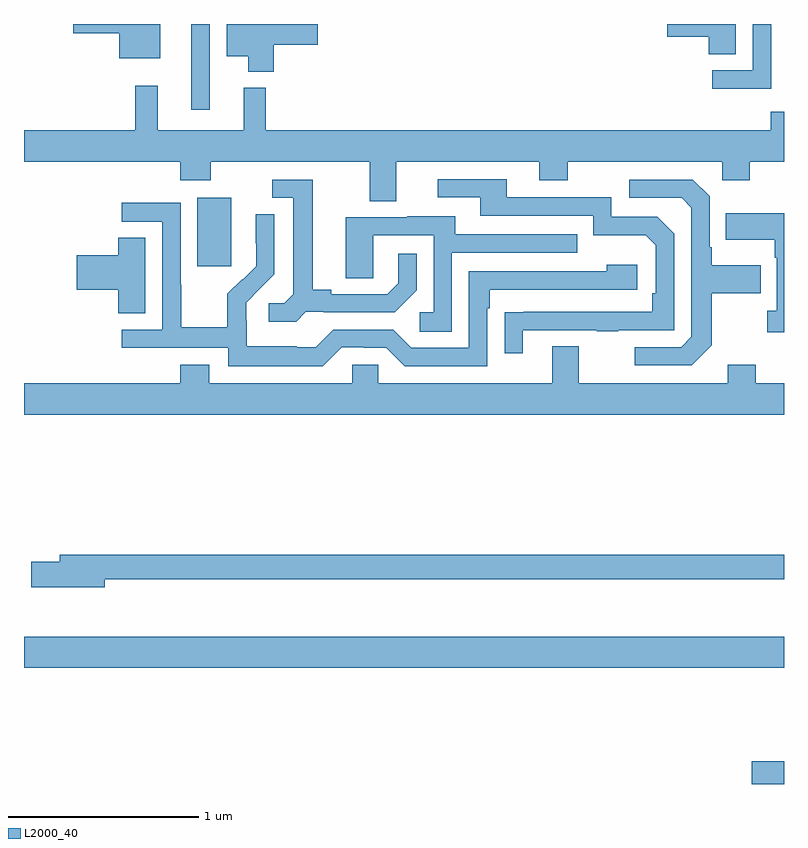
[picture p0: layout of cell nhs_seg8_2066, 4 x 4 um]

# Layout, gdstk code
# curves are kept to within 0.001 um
import gdstk
lib = gdstk.Library(unit=1e-6, precision=1e-09)
def R(c, l, rs):  # rectangles x0, y0, x1, y1
    for r in rs: c.add(gdstk.rectangle(r[:2], r[2:], *l))
def P(c, l, *ps):  # polygons
    for p in ps: c.add(gdstk.Polygon(p, *l))
L2000_40 = (2000, 40)

nhs_seg8_2066 = lib.new_cell('nhs_seg8_2066')
R(nhs_seg8_2066, L2000_40, [(244.83,1103.9,245,1104.02), (241,1104.512,245,1104.676), (241.913,1106.625,242.092,1106.986), (241.88,1107.45,241.977,1107.9)])
P(nhs_seg8_2066, L2000_40, [(244.747,1107.9),(244.386,1107.9),(244.386,1107.833),(244.604,1107.833),(244.604,1107.742),(244.747,1107.742)],
  [(241.717,1107.9),(241.26,1107.9),(241.26,1107.851),(241.502,1107.851),(241.502,1107.719),(241.717,1107.719)],
  [(242.315,1107.79),(242.545,1107.79),(242.545,1107.9),(242.066,1107.9),(242.066,1107.731),(242.18,1107.731),(242.18,1107.65),(242.315,1107.65)],
  [(244.932,1107.9),(244.836,1107.9),(244.836,1107.657),(244.623,1107.657),(244.623,1107.559),(244.932,1107.559)],
  [(242.959,1107.176),(243.713,1107.176),(243.713,1107.077),(243.861,1107.077),(243.861,1107.176),(244.674,1107.176),(244.674,1107.077),(244.821,1107.077),(244.821,1107.176),(245,1107.176),(245,1107.439),(244.931,1107.439),(244.931,1107.34),(242.273,1107.34),(242.273,1107.565),(242.156,1107.565),(242.156,1107.34),(241.703,1107.34),(241.703,1107.574),(241.585,1107.574),(241.585,1107.34),(241,1107.34),(241,1107.176),(241.823,1107.176),(241.823,1107.077),(241.983,1107.077),(241.983,1107.176),(242.819,1107.176),(242.819,1106.968),(242.959,1106.968)],
  [(243.625,1106.289),(244.015,1106.289),(244.015,1106.284),(244.127,1106.284),(244.127,1106.289),(244.422,1106.289),(244.422,1106.796),(244.332,1106.886),(244.092,1106.886),(244.092,1106.988),(243.541,1106.988),(243.541,1107.084),(243.177,1107.084),(243.177,1106.988),(243.401,1106.988),(243.401,1106.892),(243.996,1106.892),(243.996,1106.789),(244.273,1106.789),(244.326,1106.736),(244.326,1106.482),(244.306,1106.482),(244.306,1106.385),(243.529,1106.384),(243.529,1106.166),(243.625,1106.166)],
  [(242.484,1106.385),(242.578,1106.385),(242.578,1106.382),(242.95,1106.382),(243.066,1106.498),(243.066,1106.692),(242.969,1106.692),(242.969,1106.535),(242.912,1106.478),(242.617,1106.478),(242.617,1106.501),(242.521,1106.501),(242.521,1107.081),(242.307,1107.081),(242.307,1106.985),(242.417,1106.985),(242.417,1106.477),(242.37,1106.43),(242.289,1106.43),(242.289,1106.333),(242.432,1106.333)],
  [(244.621,1106.209),(244.621,1106.482),(244.877,1106.482),(244.877,1106.629),(244.621,1106.629),(244.621,1106.725),(244.608,1106.725),(244.608,1106.994),(244.521,1107.081),(244.185,1107.081),(244.185,1106.985),(244.461,1106.985),(244.512,1106.934),(244.512,1106.253),(244.458,1106.199),(244.215,1106.199),(244.215,1106.103),(244.515,1106.103)],
  [(242.673,1106.199),(242.789,1106.199),(242.789,1106.196),(242.907,1106.196),(243.003,1106.1),(243.438,1106.1),(243.438,1106.405),(243.451,1106.405),(243.451,1106.502),(244.228,1106.502),(244.228,1106.632),(244.067,1106.632),(244.067,1106.598),(243.342,1106.598),(243.342,1106.196),(243.039,1106.196),(242.943,1106.292),(242.628,1106.292),(242.535,1106.199),(242.435,1106.199),(242.435,1106.203),(242.172,1106.203),(242.172,1106.337),(242.17,1106.337),(242.17,1106.434),(242.316,1106.582),(242.316,1106.9),(242.22,1106.9),(242.22,1106.746),(242.222,1106.746),(242.222,1106.624),(242.151,1106.553),(242.148,1106.556),(242.071,1106.479),(242.071,1106.305),(241.827,1106.305),(241.827,1106.528),(241.824,1106.528),(241.824,1106.958),(241.515,1106.958),(241.515,1106.859),(241.728,1106.859),(241.728,1106.292),(241.515,1106.292),(241.515,1106.196),(242.076,1106.196),(242.076,1106.099),(242.573,1106.099)],
  [(245,1106.905),(244.693,1106.905),(244.693,1106.765),(244.95,1106.765),(244.95,1106.669),(244.962,1106.669),(244.962,1106.39),(244.911,1106.39),(244.911,1106.277),(245,1106.277)],
  [(243.252,1106.697),(243.911,1106.697),(243.911,1106.793),(243.271,1106.793),(243.271,1106.887),(243.017,1106.887),(243.017,1106.883),(242.693,1106.883),(242.693,1106.563),(242.838,1106.563),(242.838,1106.787),(243.156,1106.787),(243.156,1106.382),(243.084,1106.382),(243.084,1106.281),(243.252,1106.281)],
  [(241.639,1106.774),(241.496,1106.774),(241.496,1106.684),(241.278,1106.684),(241.278,1106.501),(241.496,1106.501),(241.496,1106.377),(241.639,1106.377)],
  [(245,1106.008),(244.851,1106.008),(244.851,1106.107),(244.703,1106.107),(244.703,1106.008),(243.919,1106.008),(243.919,1106.203),(243.779,1106.203),(243.779,1106.008),(242.865,1106.008),(242.865,1106.106),(242.727,1106.106),(242.727,1106.008),(241.975,1106.008),(241.975,1106.107),(241.823,1106.107),(241.823,1106.008),(241,1106.008),(241,1105.844),(245,1105.844)],
  [(241.426,1104.978),(245,1104.978),(245,1105.106),(241.187,1105.106),(241.187,1105.07),(241.038,1105.07),(241.038,1104.935),(241.426,1104.935)])

lib.write_gds('nhs_seg8_2066.gds')
